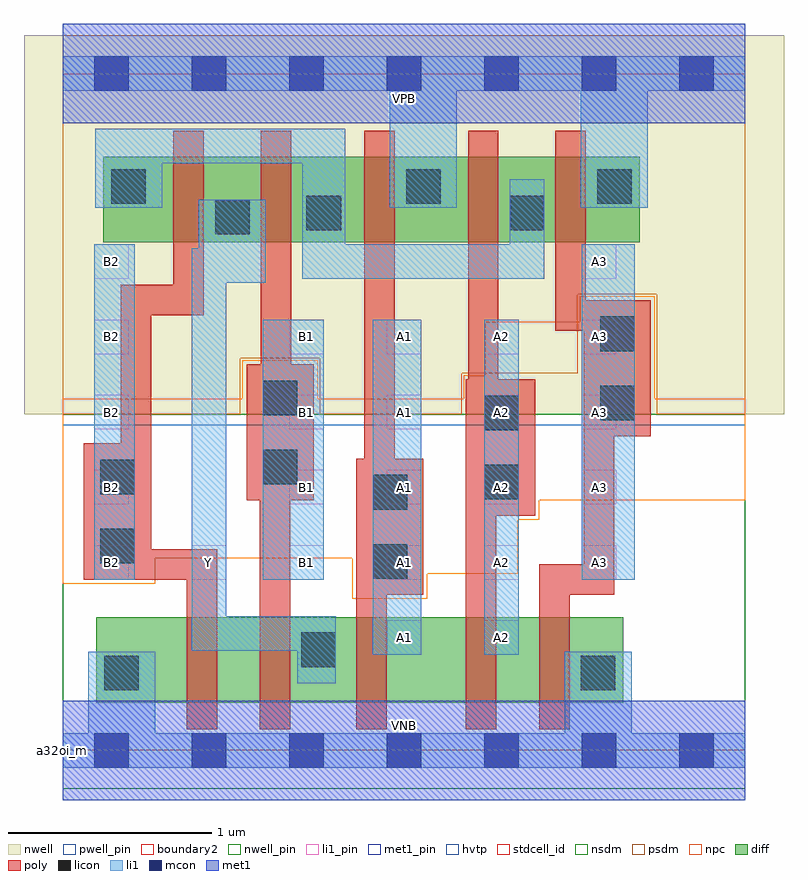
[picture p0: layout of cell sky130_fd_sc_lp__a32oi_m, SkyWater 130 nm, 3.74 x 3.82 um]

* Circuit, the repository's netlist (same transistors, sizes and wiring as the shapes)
* Copyright 2020 The SkyWater PDK Authors
*
* Licensed under the Apache License, Version 2.0 (the "License");
* you may not use this file except in compliance with the License.
* You may obtain a copy of the License at
*
*     https://www.apache.org/licenses/LICENSE-2.0
*
* Unless required by applicable law or agreed to in writing, software
* distributed under the License is distributed on an "AS IS" BASIS,
* WITHOUT WARRANTIES OR CONDITIONS OF ANY KIND, either express or implied.
* See the License for the specific language governing permissions and
* limitations under the License.
*
* SPDX-License-Identifier: Apache-2.0

.SUBCKT sky130_fd_sc_lp__a32oi_m A1 A2 A3 B1 B2 VGND VNB VPB VPWR Y
*.PININFO A1:I A2:I A3:I B1:I B2:I VGND:I VNB:I VPB:I VPWR:I Y:O
MMPA0 pndA A1 VPWR VPB sky130_fd_pr__pfet_01v8_hvt m=1 w=0.42U l=0.15U mult=1 sa=0.265
+ sb=0.265 sd=0.28 area=0.063 perim=1.14
MMPA1 pndA A2 VPWR VPB sky130_fd_pr__pfet_01v8_hvt m=1 w=0.42U l=0.15U mult=1 sa=0.265
+ sb=0.265 sd=0.28 area=0.063 perim=1.14
MMPA2 pndA A3 VPWR VPB sky130_fd_pr__pfet_01v8_hvt m=1 w=0.42U l=0.15U mult=1 sa=0.265
+ sb=0.265 sd=0.28 area=0.063 perim=1.14
MMPB0 Y B1 pndA VPB sky130_fd_pr__pfet_01v8_hvt m=1 w=0.42U l=0.15U mult=1 sa=0.265
+ sb=0.265 sd=0.28 area=0.063 perim=1.14
MMPB1 Y B2 pndA VPB sky130_fd_pr__pfet_01v8_hvt m=1 w=0.42U l=0.15U mult=1 sa=0.265
+ sb=0.265 sd=0.28 area=0.063 perim=1.14
MMNA0 Y A1 sndA1 VNB sky130_fd_pr__nfet_01v8 m=1 w=0.42U l=0.15U mult=1 sa=0.265
+ sb=0.265 sd=0.28 area=0.063 perim=1.14
MMNA1 sndA1 A2 sndA2 VNB sky130_fd_pr__nfet_01v8 m=1 w=0.42U l=0.15U mult=1 sa=0.265
+ sb=0.265 sd=0.28 area=0.063 perim=1.14
MMNA2 sndA2 A3 VGND VNB sky130_fd_pr__nfet_01v8 m=1 w=0.42U l=0.15U mult=1 sa=0.265
+ sb=0.265 sd=0.28 area=0.063 perim=1.14
MMNB0 Y B1 sndB1 VNB sky130_fd_pr__nfet_01v8 m=1 w=0.42U l=0.15U mult=1 sa=0.265
+ sb=0.265 sd=0.28 area=0.063 perim=1.14
MMNB1 sndB1 B2 VGND VNB sky130_fd_pr__nfet_01v8 m=1 w=0.42U l=0.15U mult=1 sa=0.265
+ sb=0.265 sd=0.28 area=0.063 perim=1.14
.ENDS sky130_fd_sc_lp__a32oi_m

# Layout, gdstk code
import gdstk
lib = gdstk.Library(unit=1e-6, precision=1e-09)
def R(c, l, rs):  # rectangles x0, y0, x1, y1
    for r in rs: c.add(gdstk.rectangle(r[:2], r[2:], *l))
def A(c, l, x, y, w, h, nx, ny, dx, dy):  # array of equal rectangles
    R(c, l, [(x+i*dx, y+j*dy, x+i*dx+w, y+j*dy+h) for i in range(nx) for j in range(ny)])
def P(c, l, *ps):  # polygons
    for p in ps: c.add(gdstk.Polygon(p, *l))
nwell_pin = (64, 16)
nwell = (64, 20)
diff = (65, 20)
poly = (66, 20)
licon = (66, 44)
li1_pin = (67, 16)
li1 = (67, 20)
mcon = (67, 44)
met1_pin = (68, 16)
met1 = (68, 20)
hvtp = (78, 44)
stdcell_id = (81, 4)
nsdm = (93, 44)
psdm = (94, 20)
npc = (95, 20)
pwell_pin = (122, 16)
boundary2 = (236, 0)

sky130_fd_sc_lp__a32oi_m = lib.new_cell('sky130_fd_sc_lp__a32oi_m')
R(sky130_fd_sc_lp__a32oi_m, nwell_pin, [(0,3.085,3.36,3.33)])
R(sky130_fd_sc_lp__a32oi_m, nwell, [(-0.19,1.655,3.55,3.52)])
R(sky130_fd_sc_lp__a32oi_m, diff, [(0.165,0.235,2.76,0.655), (0.2,2.5,2.84,2.92)])
P(sky130_fd_sc_lp__a32oi_m, poly, [(0.76,0.99),(0.435,0.99),(0.435,2.14),(0.695,2.14),(0.695,3.05),(0.545,3.05),(0.545,2.29),(0.285,2.29),(0.285,1.51),(0.105,1.51),(0.105,0.84),(0.61,0.84),(0.61,0.105),(0.76,0.105)],
  [(1.235,1.9),(1.125,1.9),(1.125,3.05),(0.975,3.05),(0.975,1.9),(0.905,1.9),(0.905,1.23),(0.97,1.23),(0.97,0.105),(1.12,0.105),(1.12,1.23),(1.235,1.23)],
  [(1.775,1.435),(1.635,1.435),(1.635,3.05),(1.485,3.05),(1.485,1.435),(1.445,1.435),(1.445,0.105),(1.595,0.105),(1.595,0.765),(1.775,0.765)],
  [(2.325,1.825),(2.145,1.825),(2.145,3.05),(1.995,3.05),(1.995,1.825),(1.985,1.825),(1.985,0.105),(2.135,0.105),(2.135,1.155),(2.325,1.155)],
  [(2.895,2.215),(2.575,2.215),(2.575,3.05),(2.425,3.05),(2.425,2.065),(2.565,2.065),(2.565,0.915),(2.345,0.915),(2.345,0.105),(2.495,0.105),(2.495,0.765),(2.715,0.765),(2.715,1.545),(2.895,1.545)])
R(sky130_fd_sc_lp__a32oi_m, licon, [(0.205,0.295,0.375,0.465), (2.55,0.295,2.72,0.465), (1.175,0.41,1.345,0.58), (1.525,0.845,1.695,1.015), (0.185,0.92,0.355,1.09), (1.525,1.185,1.695,1.355), (2.075,1.235,2.245,1.405), (0.185,1.26,0.355,1.43), (0.985,1.31,1.155,1.48), (2.075,1.575,2.245,1.745), (2.645,1.625,2.815,1.795), (0.985,1.65,1.155,1.82), (2.645,1.965,2.815,2.135), (0.75,2.54,0.92,2.71), (1.2,2.56,1.37,2.73), (2.2,2.56,2.37,2.73), (0.24,2.69,0.41,2.86), (1.69,2.69,1.86,2.86), (2.63,2.69,2.8,2.86)])
A(sky130_fd_sc_lp__a32oi_m, li1_pin, 0.155, 0.84, 0.17, 0.17, 6, 1, 0.48, 0)
A(sky130_fd_sc_lp__a32oi_m, li1_pin, 0.155, 1.21, 0.17, 0.17, 1, 4, 0, 0.37)
A(sky130_fd_sc_lp__a32oi_m, li1_pin, 1.115, 1.21, 0.17, 0.17, 4, 3, 0.48, 0.37)
R(sky130_fd_sc_lp__a32oi_m, li1_pin, [(1.595,0.47,1.765,0.64), (2.075,0.47,2.245,0.64), (2.555,2.32,2.725,2.49)])
R(sky130_fd_sc_lp__a32oi_m, li1, [(1.525,0.47,1.765,2.12), (2.075,0.47,2.245,2.12), (0.155,0.84,0.355,2.49), (0.985,0.84,1.285,2.12), (2.555,0.84,2.815,2.49)])
P(sky130_fd_sc_lp__a32oi_m, li1, [(1.61,2.67),(1.61,3.245),(0,3.245),(0,3.415),(3.36,3.415),(3.36,3.245),(2.88,3.245),(2.88,2.67),(2.55,2.67),(2.55,3.245),(1.94,3.245),(1.94,2.67)],
  [(2.47,0.085),(2.47,0.485),(2.8,0.485),(2.8,0.085),(3.36,0.085),(3.36,-0.085),(0,-0.085),(0,0.085),(0.125,0.085),(0.125,0.485),(0.455,0.485),(0.455,0.085)],
  [(1.39,2.49),(2.2,2.49),(2.2,2.81),(2.37,2.81),(2.37,2.32),(1.18,2.32),(1.18,2.89),(0.49,2.89),(0.49,2.67),(0.16,2.67),(0.16,3.06),(1.39,3.06)],
  [(0.635,2.47),(0.67,2.47),(0.67,2.71),(1,2.71),(1,2.3),(0.805,2.3),(0.805,0.66),(1.345,0.66),(1.345,0.33),(1.155,0.33),(1.155,0.49),(0.635,0.49)])
A(sky130_fd_sc_lp__a32oi_m, mcon, 0.155, -0.085, 0.17, 0.17, 7, 2, 0.48, 3.33)
R(sky130_fd_sc_lp__a32oi_m, met1_pin, [(0,0,3.36,0.245), (0,3.085,3.36,3.33)])
R(sky130_fd_sc_lp__a32oi_m, met1, [(0,-0.245,3.36,0.245), (0,3.085,3.36,3.575)])
R(sky130_fd_sc_lp__a32oi_m, hvtp, [(0,1.6,3.36,3.33)])
R(sky130_fd_sc_lp__a32oi_m, stdcell_id, [(0,0,3.36,3.33)])
R(sky130_fd_sc_lp__a32oi_m, nsdm, [(0,-0.19,3.36,1.655)])
P(sky130_fd_sc_lp__a32oi_m, psdm, [(3.36,3.52),(0,3.52),(0,1.655),(0.875,1.655),(0.875,1.93),(1.265,1.93),(1.265,1.655),(1.965,1.655),(1.965,1.855),(2.535,1.855),(2.535,2.245),(2.925,2.245),(2.925,1.655),(3.36,1.655)])
P(sky130_fd_sc_lp__a32oi_m, npc, [(3.36,1.73),(2.915,1.73),(2.915,2.235),(2.545,2.235),(2.545,2.11),(2.08,2.11),(2.08,1.845),(1.975,1.845),(1.975,1.73),(1.255,1.73),(1.255,1.92),(0.885,1.92),(0.885,1.73),(0,1.73),(0,0.82),(0.455,0.82),(0.455,0.945),(1.425,0.945),(1.425,0.745),(1.795,0.745),(1.795,0.87),(2.24,0.87),(2.24,1.135),(2.345,1.135),(2.345,1.23),(3.36,1.23)])
R(sky130_fd_sc_lp__a32oi_m, pwell_pin, [(0,0,3.36,0.245)])
R(sky130_fd_sc_lp__a32oi_m, boundary2, [(0,0,3.36,3.33)])
sky130_fd_sc_lp__a32oi_m.add(gdstk.Label('VNB', (1.68,0.123), layer=64, texttype=59))
sky130_fd_sc_lp__a32oi_m.add(gdstk.Label('VPB', (1.68,3.208), layer=64, texttype=5))
sky130_fd_sc_lp__a32oi_m.add(gdstk.Label('a32oi_m', (0,0), layer=83, texttype=44))
sky130_fd_sc_lp__a32oi_m.add(gdstk.Label('VPWR', (1.68,3.208), layer=68, texttype=5))
sky130_fd_sc_lp__a32oi_m.add(gdstk.Label('VGND', (1.68,0.123), layer=68, texttype=5))
sky130_fd_sc_lp__a32oi_m.add(gdstk.Label('A1', (1.68,0.555), layer=67, texttype=5))
sky130_fd_sc_lp__a32oi_m.add(gdstk.Label('A1', (1.68,0.925), layer=67, texttype=5))
sky130_fd_sc_lp__a32oi_m.add(gdstk.Label('A1', (1.68,1.295), layer=67, texttype=5))
sky130_fd_sc_lp__a32oi_m.add(gdstk.Label('A1', (1.68,1.665), layer=67, texttype=5))
sky130_fd_sc_lp__a32oi_m.add(gdstk.Label('A1', (1.68,2.035), layer=67, texttype=5))
sky130_fd_sc_lp__a32oi_m.add(gdstk.Label('A2', (2.16,0.555), layer=67, texttype=5))
sky130_fd_sc_lp__a32oi_m.add(gdstk.Label('A2', (2.16,0.925), layer=67, texttype=5))
sky130_fd_sc_lp__a32oi_m.add(gdstk.Label('A2', (2.16,1.295), layer=67, texttype=5))
sky130_fd_sc_lp__a32oi_m.add(gdstk.Label('A2', (2.16,1.665), layer=67, texttype=5))
sky130_fd_sc_lp__a32oi_m.add(gdstk.Label('A2', (2.16,2.035), layer=67, texttype=5))
sky130_fd_sc_lp__a32oi_m.add(gdstk.Label('B1', (1.2,0.925), layer=67, texttype=5))
sky130_fd_sc_lp__a32oi_m.add(gdstk.Label('B1', (1.2,1.295), layer=67, texttype=5))
sky130_fd_sc_lp__a32oi_m.add(gdstk.Label('B1', (1.2,1.665), layer=67, texttype=5))
sky130_fd_sc_lp__a32oi_m.add(gdstk.Label('B1', (1.2,2.035), layer=67, texttype=5))
sky130_fd_sc_lp__a32oi_m.add(gdstk.Label('B2', (0.24,0.925), layer=67, texttype=5))
sky130_fd_sc_lp__a32oi_m.add(gdstk.Label('B2', (0.24,1.295), layer=67, texttype=5))
sky130_fd_sc_lp__a32oi_m.add(gdstk.Label('B2', (0.24,1.665), layer=67, texttype=5))
sky130_fd_sc_lp__a32oi_m.add(gdstk.Label('B2', (0.24,2.035), layer=67, texttype=5))
sky130_fd_sc_lp__a32oi_m.add(gdstk.Label('B2', (0.24,2.405), layer=67, texttype=5))
sky130_fd_sc_lp__a32oi_m.add(gdstk.Label('A3', (2.64,0.925), layer=67, texttype=5))
sky130_fd_sc_lp__a32oi_m.add(gdstk.Label('A3', (2.64,1.295), layer=67, texttype=5))
sky130_fd_sc_lp__a32oi_m.add(gdstk.Label('A3', (2.64,1.665), layer=67, texttype=5))
sky130_fd_sc_lp__a32oi_m.add(gdstk.Label('A3', (2.64,2.035), layer=67, texttype=5))
sky130_fd_sc_lp__a32oi_m.add(gdstk.Label('A3', (2.64,2.405), layer=67, texttype=5))
sky130_fd_sc_lp__a32oi_m.add(gdstk.Label('Y', (0.72,0.925), layer=67, texttype=5))

lib.write_gds('sky130_fd_sc_lp__a32oi_m.gds')
